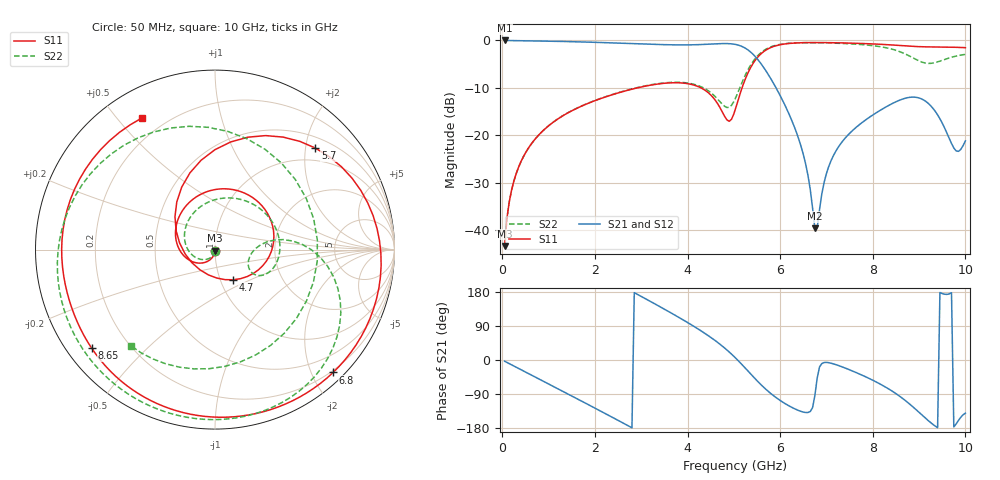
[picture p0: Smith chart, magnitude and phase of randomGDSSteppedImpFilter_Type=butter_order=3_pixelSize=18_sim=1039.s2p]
! freq	dB(S11)	phase(S11)	dB(S12)	phase(S12)
!  dB(S21)	phase(S21)	dB(S22)	phase(S22)
!S-par simulation data
#  GHz  S  DB  R 50
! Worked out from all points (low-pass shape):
!   200 points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, 50 MHz to 10 GHz, reference 50 ohm
!   highest |S21| = -0.01 dB at 50 MHz (marker M1); lowest = -39.6 dB at 6.75 GHz (marker M2)
!   |S21| within 3 dB of the highest: start of sweep to 5.423 GHz
!   lowest |S11| = -43.3 dB at 50 MHz (marker M3), VSWR 1.01, Z = 50 - j0.68 ohm
!   |S11| at or under -10 dB: start of sweep to 2.916 GHz; 4.29 GHz to 5.177 GHz (887.6 MHz wide, 18.8 % of centre)
!   |S22| runs from -43.4 to -0.5 dB; largest |S21 - S12| = 0
!   S11 on the Smith chart (normalised r, x): 50 MHz: 1.00, -0.01; 4.7 GHz: 1.15, -0.40; 5.7 GHz: 0.71, +2.20; 6.8 GHz: 0.17, -2.34; 8.65 GHz: 0.07, -0.35; 10 GHz: 0.12, +0.58
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0.05  -43.35 -89.4  -0.01 -3.2  -0.01 -3.2  -43.37 -90.3
0.2  -31.57 -100.0  -0.03 -12.7  -0.03 -12.7  -31.58 -103.9
0.5  -23.72 -117.0  -0.06 -31.7  -0.06 -31.7  -23.74 -126.9
1.75  -13.68 175.3  -0.33 -110.9  -0.33 -110.9  -13.65 141.0
2.6  -10.79 126.0  -0.59 -165.8  -0.59 -165.8  -10.73 80.7
3.4  -9.14 72.9  -0.87 141.0  -0.87 141.0  -9.06 28.1
4.1  -9.31 17.7  -0.92 91.6  -0.92 91.6  -9.15 -13.2
4.7  -14.15 -59.1  -0.68 41.7  -0.68 41.7  -12.91 -30.6
5.05  -13.96 169.5  -0.87 3.8  -0.87 3.8  -11.85 6.0
5.4  -5.09 90.0  -2.78 -41.7  -2.78 -41.7  -4.63 -4.1
5.7  -1.99 45.4  -6.52 -78.2  -6.52 -78.2  -1.80 -31.3
6.4  -0.51 -20.5  -20.75 -133.4  -20.75 -133.4  -0.49 -82.2
6.7  -0.45 -40.2  -35.31 -125.8  -35.31 -125.8  -0.47 -99.4
6.75  -0.45 -43.2  -39.62 -93.3  -39.62 -93.3  -0.48 -102.1
6.8  -0.45 -46.1  -39.49 -47.7  -39.49 -47.7  -0.48 -104.8
7.2  -0.49 -68.1  -23.38 -12.1  -23.38 -12.1  -0.58 -126.4
8.35  -0.92 -125.7  -13.67 -76.9  -13.67 -76.9  -1.68 154.1
8.65  -1.11 -141.4  -12.34 -101.9  -12.34 -101.9  -2.63 117.5
8.95  -1.29 -158.0  -12.02 -132.6  -12.02 -132.6  -4.09 63.6
9.25  -1.36 -176.6  -13.76 -165.2  -13.76 -165.2  -4.83 -6.6
9.6  -1.39 156.7  -19.50 173.1  -19.50 173.1  -3.86 -77.4
10  -1.53 119.1  -21.18 -140.3  -21.18 -140.3  -2.96 -131.0
